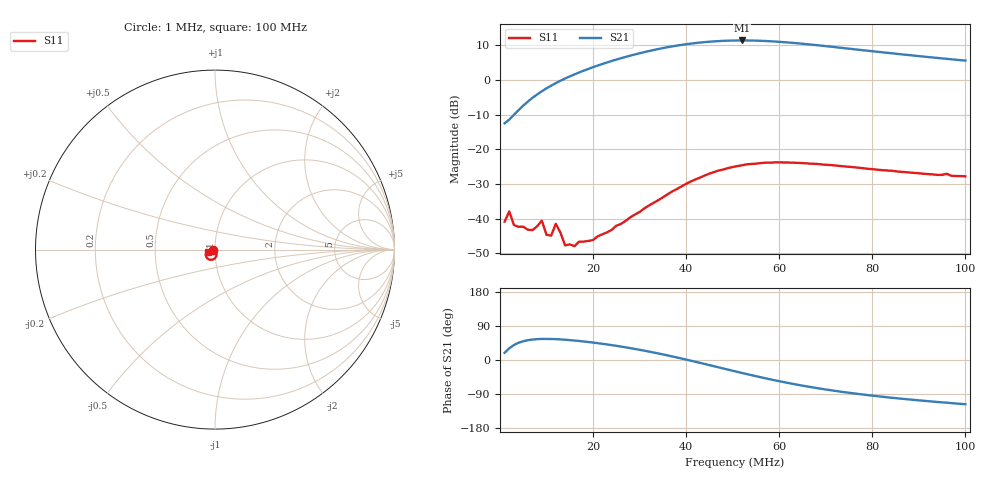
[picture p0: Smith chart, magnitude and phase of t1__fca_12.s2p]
# HZ S RI R 50
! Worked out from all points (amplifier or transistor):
!   100 points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, 1 MHz to 100 MHz, reference 50 ohm
!   highest |S21| = 11.4 dB at 52 MHz (marker M1)
!   |S21| within 3 dB of that: 32.18 MHz to 79.27 MHz (47.09 MHz wide, 84.5 % of centre)
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1000001  -0.00905 0.00038  0.2241 0.0773  0 0  0 0
2000001  -0.00873 -0.00927  0.2297 0.1368  0 0  0 0
3000001  -0.00808 0.000345  0.2422 0.1994  0 0  0 0
7000001  -0.00683 0.000363  0.3242 0.4465  0 0  0 0
9000001  -0.00936 -0.000106  0.3876 0.5662  0 0  0 0
1e7  -0.00559 0.00172  0.4284 0.6239  0 0  0 0
1.1e7  -0.00554 -0.00131  0.4691 0.6804  0 0  0 0
1.2e7  -0.00777 -0.0033  0.515 0.7364  0 0  0 0
1.4e7  -0.00374 -0.00168  0.6232 0.8407  0 0  0 0
1.8e7  -0.00266 -0.00384  0.8939 1.025  0 0  0 0
2.7e7  0.00183 -0.00909  1.789 1.181  0 0  0 0
3.4e7  0.00672 -0.0172  2.658 0.8295  0 0  0 0
3.8e7  0.00849 -0.0253  3.099 0.364  0 0  0 0
4.3e7  0.00605 -0.0386  3.424 -0.456  0 0  0 0
4.7e7  -0.00145 -0.0495  3.419 -1.206  0 0  0 0
5.1e7  -0.0137 -0.0556  3.162 -1.92  0 0  0 0
5.2e7  -0.0173 -0.0562  3.064 -2.079  0 0  0 0
5.9e7  -0.0388 -0.0517  2.131 -2.869  0 0  0 0
6.7e7  -0.05 -0.0365  0.9992 -3.06  0 0  0 0
7.5e7  -0.0506 -0.0239  0.1719 -2.814  0 0  0 0
8.4e7  -0.0463 -0.0165  -0.3954 -2.393  0 0  0 0
1e8  -0.0385 -0.0134  -0.8535 -1.696  0 0  0 0
